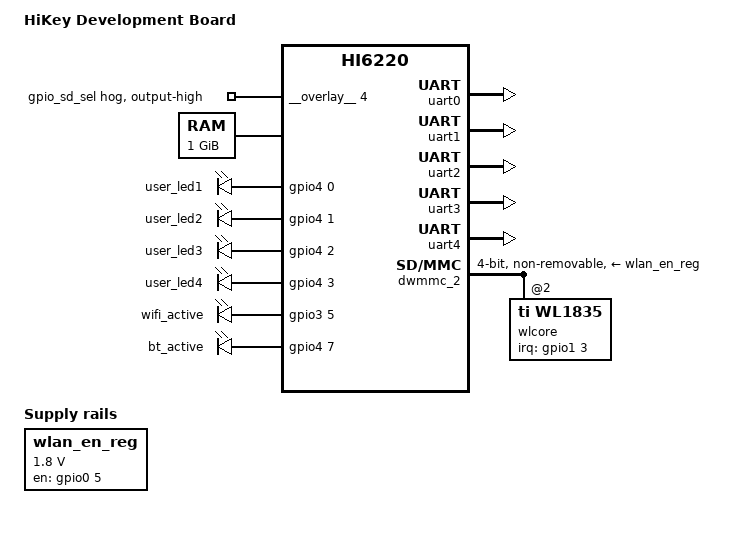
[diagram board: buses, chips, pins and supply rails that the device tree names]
/*
 * dts file for Hisilicon HiKey Development Board
 *
 * Copyright (C) 2014, Hisilicon Ltd.
 *
 */

/dts-v1/;

/memreserve/ 0x00000000 0x07400000;

#include "hikey-pinctrl.dtsi"
#include "hikey-gpio.dtsi"
#include "hi6220.dtsi"

/ {
	model = "HiKey Development Board";
	compatible = "hisilicon,hikey", "hisilicon,hi6220";
	hisi,boardid = <0 0 4 3>;
	#address-cells = <2>;
	#size-cells = <2>;
	interrupt-parent = <&gic>;

	aliases {
		serial0 = &uart0;
		serial1 = &uart1;
		serial2 = &uart2;
		mshc0 = &dwmmc_0;
		mshc1 = &dwmmc_1;
		mshc2 = &dwmmc_2;
	};

	chosen {
		linux,initrd-start = <0x0 0x0ae00000>;
		linux,initrd-end = <0x0 0x0b600000>;
	};

	overlay_mgr {
		compatible = "linux,overlay_manager";
		hardware_cfg_cs_sd_qb {
			overlay_0 {
				fragment@0 { /* Select SD from Quick Bus */
					target-path="/soc/gpio@f7020000";
					__overlay__ {
						sd_sel {
							gpio-hog;
							gpios = <4 0>;
							output-high;
							line-name = "gpio_sd_sel";
						};
					};
				};
			};
		};
		hardware_cfg_enable_android_fstab {
			overlay_0 {
				fragment@0 {
					target-path="/firmware/android/fstab/system";
					__overlay__ {
						status = "ok";
					};
				};
				fragment@1 {
					target-path="/firmware/android/fstab/vendor";
					__overlay__ {
						fsmgr_flags = "wait";
						status = "ok";
					};
				};
			};
		};
		hardware_cfg_enable_android_fstab_v2 {
			overlay_0 {
				fragment@0 {
					target-path="/firmware/android/fstab/vendor";
					__overlay__ {
						status = "ok";
					};
				};
			};
		};
	};

	memory {
		device_type = "memory";
		reg = <0x0 0x00000000 0x0 0x40000000>;
	};

	reserved-memory {
		#address-cells = <2>;
		#size-cells = <2>;
		ranges;

		mcu-buf@05e00000 {
			no-map;
			reg = <0x0 0x05e00000 0x0 0x00100000>,	/* MCU firmware buffer */
			      <0x0 0x0740f000 0x0 0x00001000>;	/* MCU firmware section */
		};

		mbox-buf@06dff000 {
			no-map;
			reg = <0x0 0x06dff000 0x0 0x00001000>;	/* Mailbox message buf */
		};

		reboot-reason@05f01000 {
			no-map;
			reg = <0x0 0x05f01000 0x0 0x00001000>;
		};
	};

	smb {
		uart0: uart@f8015000 {	/* console */
			status = "ok";
		};

		uart1: uart@f7111000 {
			pinctrl-names = "default";
			pinctrl-0 = <&uart1_pmx_func
				     &uart1_cfg_func1 &uart1_cfg_func2>;
			status = "ok";
		};

		uart2: uart@f7112000 {
			pinctrl-names = "default";
			pinctrl-0 = <&uart2_pmx_func &uart2_cfg_func>;
			status = "ok";
		};

		uart3: uart@f7113000 {
			pinctrl-names = "default";
			pinctrl-0 = <&uart3_pmx_func &uart3_cfg_func>;
			status = "ok";
		};

		uart4: uart@f7114000 {
			pinctrl-names = "default";
			pinctrl-0 = <&uart4_pmx_func &uart4_cfg_func>;
			status = "ok";
		};
	};

	dwmmc_0: dwmmc0@f723d000 {
		bus-width = <0x8>;
		vmmc-supply = <&ldo19>;
		pinctrl-names = "default";
		pinctrl-0 = <&emmc_pmx_func &emmc_clk_cfg_func
			     &emmc_cfg_func &emmc_rst_cfg_func>;
	};

	dwmmc_1: dwmmc1@f723e000 {
		bus-width = <0x4>;
		disable-wp;
		cd-gpios = <&gpio1 0 1>;
		pinctrl-names = "default", "idle";
		pinctrl-0 = <&sd_pmx_func &sd_clk_cfg_func &sd_cfg_func>;
		pinctrl-1 = <&sd_pmx_idle &sd_clk_cfg_idle &sd_cfg_idle>;
	};

	dwmmc_2: dwmmc2@f723f000 {
		bus-width = <0x4>;
		broken-cd;
		non-removable;
		/* WL_EN */
		vmmc-supply = <&wlan_en_reg>;
		pinctrl-names = "default", "idle";
		pinctrl-0 = <&sdio_pmx_func &sdio_clk_cfg_func &sdio_cfg_func>;
		pinctrl-1 = <&sdio_pmx_idle &sdio_clk_cfg_idle &sdio_cfg_idle>;

		wlcore: wlcore@2 {
			compatible = "ti,wl1835";
			reg = <2>;	/* sdio func num */
			/* WL_IRQ, WL_HOST_WAKE_GPIO1_3 */
			interrupt-parent = <&gpio1>;
			interrupts = <3 IRQ_TYPE_EDGE_RISING>;
		};
	};

	kim {
		compatible = "kim";
		pinctrl-names = "default";
		pinctrl-0 = <>; /* FIXME: add BT PCM pinctrl here */
		/*
		 * FIXME: The following is complete CRAP since
		 * the vendor driver doesn't follow the gpio
		 * binding. Passing in a magic Linux gpio number
		 * here until we fix the vendor driver.
		 */
		/* BT_EN: BT_REG_ON_GPIO1_7 */
		nshutdown_gpio = <503>;
		dev_name = "/dev/ttyAMA1";
		flow_cntrl = <1>;
		baud_rate = <3000000>;
	};

	btwilink {
		compatible = "btwilink";
	};

	leds {
		compatible = "gpio-leds";
		user_led1 {
			label = "user_led1";
			gpios = <&gpio4 0 0>; /* <&gpio_user_led_1>; */
			linux,default-trigger = "heartbeat";
		};

		user_led2 {
			label = "user_led2";
			gpios = <&gpio4 1 0>; /* <&gpio_user_led_2>; */
			linux,default-trigger = "mmc0";
		};

		user_led3 {
			label = "user_led3";
			gpios = <&gpio4 2 0>; /* <&gpio_user_led_3>; */
			linux,default-trigger = "mmc1";
		};

		user_led4 {
			label = "user_led4";
			gpios = <&gpio4 3 0>; /* <&gpio_user_led_4>; */
			linux,default-trigger = "cpu0";
		};

		wlan_active_led {
			label = "wifi_active";
			gpios = <&gpio3 5 0>; /* <&gpio_wlan_active_led>; */
			linux,default-trigger = "phy0tx";
			default-state = "off";
		};

		bt_active_led {
			label = "bt_active";
			gpios = <&gpio4 7 0>; /* <&gpio_bt_active_led>; */
			linux,default-trigger = "hci0rx";
			default-state = "off";
		};

	};

	/* power control mechanism for WLAN_EN */
	wlan_en_reg: fixedregulator@1 {
		compatible = "regulator-fixed";
		regulator-name = "wlan-en-regulator";
		regulator-min-microvolt = <1800000>;
		regulator-max-microvolt = <1800000>;

		/* WLAN_EN GPIO for this board - GPIO_0_5 */
		gpio = <&gpio0 5 0>;

		/* WLAN card specific delay */
		startup-delay-us = <70000>;
		enable-active-high;
	};

	reboot_reason: reboot-reason@05f01000 {
		compatible		= "linux,reboot-reason-sram";
		reg			= <0x0 0x05F01000 0x0 0x4>;
		reason,none		= <0x77665501>;
		reason,bootloader	= <0x77665500>;
		reason,recovery		= <0x77665502>;
		reason,oem		= <0x6f656d00>;
	};

        hisi-ion@0 {
                compatible = "hisilicon,ion";

                heap_sys_user@0 {
                        heap-name = "sys_user";
                        heap-range = <0x0 0x0>;
                        heap-type = "ion_system";
                };

                heap_sys_contig@0 {
                        heap-name = "sys_contig";
                        heap-range = <0x0 0x0>;
                        heap-type = "ion_system_contig";
                };
        };
	firmware {
		android {
			compatible = "android,firmware";
			fstab {
				compatible = "android,fstab";
				system {
					compatible = "android,system";
					dev = "/dev/block/platform/f723d000.dwmmc0/by-name/system";
					type = "ext4";
					mnt_flags = "ro" ;
					fsmgr_flags = "wait";
					status = "disabled";
				};
				vendor {
					compatible = "android,vendor";
					dev = "/dev/block/platform/f723d000.dwmmc0/by-name/vendor";
					type = "ext4";
					mnt_flags = "ro" ;
					fsmgr_flags = "wait,verify";
					status = "disabled";
				};
			};
		};
	};
};
